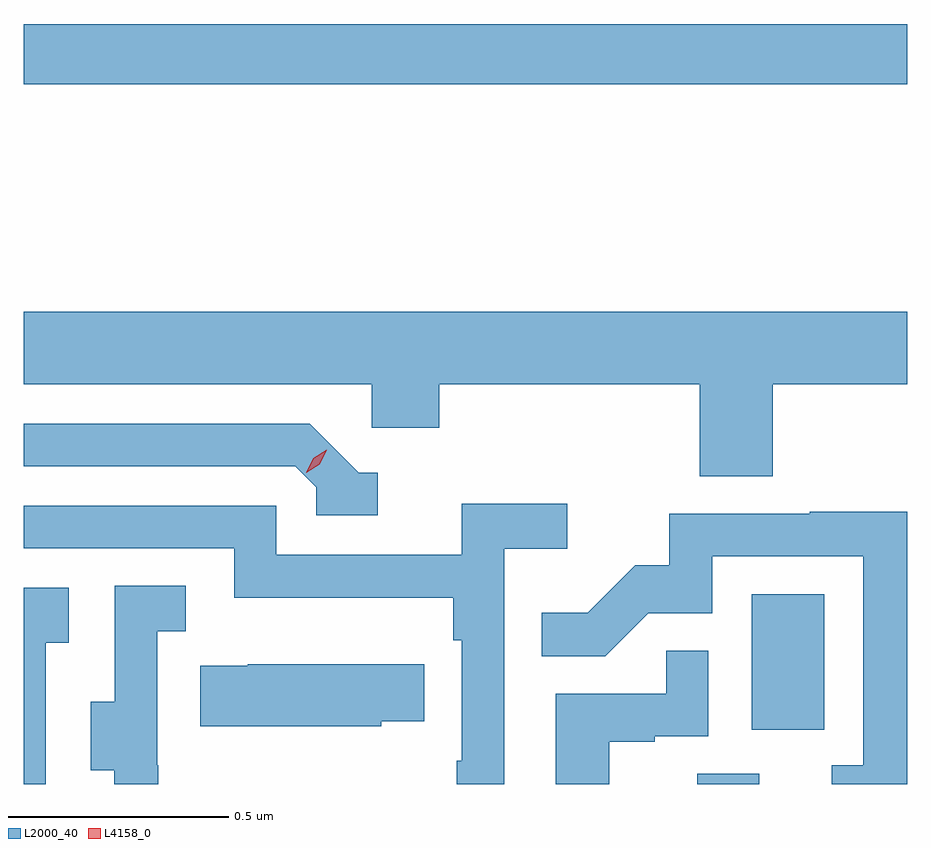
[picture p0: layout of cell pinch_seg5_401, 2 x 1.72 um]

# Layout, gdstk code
import gdstk
lib = gdstk.Library(unit=1e-6, precision=1e-09)
def R(c, l, rs):  # rectangles x0, y0, x1, y1
    for r in rs: c.add(gdstk.rectangle(r[:2], r[2:], *l))
def P(c, l, *ps):  # polygons
    for p in ps: c.add(gdstk.Polygon(p, *l))
L2000_40 = (2000, 40)
L4158_0 = (4158, 0)

pinch_seg5_401 = lib.new_cell('pinch_seg5_401')
R(pinch_seg5_401, L2000_40, [(1006.397,867.843,1006.537,867.866), (1006.52,867.966,1006.684,868.273), (1004.872,869.428,1006.872,869.564)])
P(pinch_seg5_401, L2000_40, [(1006.568,868.748),(1006.872,868.748),(1006.872,868.912),(1004.872,868.912),(1004.872,868.748),(1005.66,868.748),(1005.66,868.65),(1005.812,868.65),(1005.812,868.748),(1006.403,868.748),(1006.403,868.54),(1006.568,868.54)],
  [(1005.673,868.548),(1005.63,868.548),(1005.519,868.659),(1004.872,868.659),(1004.872,868.563),(1005.486,868.563),(1005.534,868.515),(1005.534,868.452),(1005.673,868.452)],
  [(1005.96,868.376),(1006.102,868.376),(1006.102,868.478),(1005.863,868.478),(1005.863,868.362),(1005.444,868.362),(1005.444,868.473),(1004.872,868.473),(1004.872,868.377),(1005.348,868.377),(1005.348,868.265),(1005.844,868.265),(1005.844,868.169),(1005.864,868.169),(1005.864,867.896),(1005.852,867.896),(1005.852,867.843),(1005.96,867.843)],
  [(1006.872,868.46),(1006.651,868.46),(1006.651,868.455),(1006.333,868.455),(1006.333,868.338),(1006.256,868.338),(1006.149,868.231),(1006.045,868.231),(1006.045,868.132),(1006.188,868.132),(1006.286,868.23),(1006.431,868.23),(1006.431,868.359),(1006.773,868.359),(1006.773,867.885),(1006.701,867.885),(1006.701,867.843),(1006.872,867.843)],
  [(1005.176,867.885),(1005.174,867.885),(1005.174,868.189),(1005.238,868.189),(1005.238,868.292),(1005.078,868.292),(1005.078,868.029),(1005.023,868.029),(1005.023,867.874),(1005.077,867.874),(1005.077,867.843),(1005.176,867.843)],
  [(1004.922,868.163),(1004.974,868.163),(1004.974,868.287),(1004.872,868.287),(1004.872,867.843),(1004.922,867.843)],
  [(1006.198,867.939),(1006.301,867.939),(1006.301,867.951),(1006.422,867.951),(1006.422,868.145),(1006.327,868.145),(1006.327,868.047),(1006.076,868.047),(1006.076,867.843),(1006.198,867.843)],
  [(1005.681,867.985),(1005.779,867.985),(1005.779,868.114),(1005.379,868.114),(1005.379,868.111),(1005.271,868.111),(1005.271,867.974),(1005.681,867.974)])
P(pinch_seg5_401, L4158_0, [(1005.511,868.548),(1005.511,868.548),(1005.527,868.581),(1005.558,868.6),(1005.558,868.6),(1005.558,868.6),(1005.542,868.567),(1005.511,868.548)])

lib.write_gds('pinch_seg5_401.gds')
